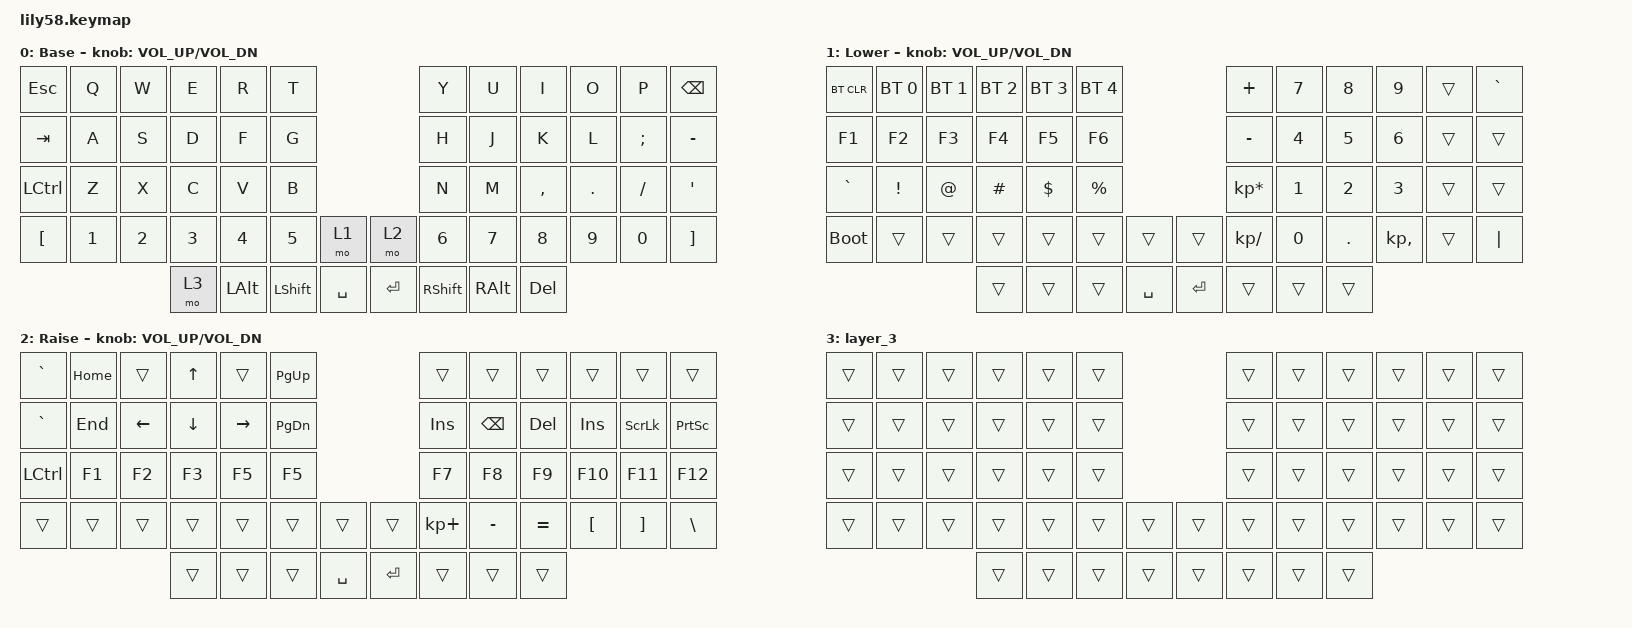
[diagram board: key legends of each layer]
/*
 * Copyright (c) 2020 The ZMK Contributors
 *
 * SPDX-License-Identifier: MIT
 */

#include <behaviors.dtsi>
#include <dt-bindings/zmk/bt.h>
#include <dt-bindings/zmk/keys.h>

/ {
    keymap {
        compatible = "zmk,keymap";

        default_layer {
            // ------------------------------------------------------------------------------------------------------------
            // |  ESC  |  1  |  2  |  3   |  4   |  5   |                   |  6   |  7    |  8    |  9   |   0   |   `   |
            // |  TAB  |  Q  |  W  |  E   |  R   |  T   |                   |  Y   |  U    |  I    |  O   |   P   |   -   |
            // |  CTRL |  A  |  S  |  D   |  F   |  G   |                   |  H   |  J    |  K    |  L   |   ;   |   '   |
            // | SHIFT |  Z  |  X  |  C   |  V   |  B   |   "["  |  |  "]"  |  N   |  M    |  ,    |  .   |   /   | SHIFT |
            //                     | ALT  | GUI  | LOWER|  SPACE |  | ENTER | RAISE| BSPC  | GUI   |

            display-name = "Base";
            bindings = <
&kp ESC           &kp Q         &kp W   &kp E   &kp R         &kp T                                   &kp Y            &kp U          &kp I       &kp O       &kp P          &kp BACKSPACE
&kp TAB           &kp A         &kp S   &kp D   &kp F         &kp G                                   &kp H            &kp J          &kp K       &kp L       &kp SEMICOLON  &kp MINUS
&kp LCTRL         &kp Z         &kp X   &kp C   &kp V         &kp B                                   &kp N            &kp M          &kp COMMA   &kp PERIOD  &kp SLASH      &kp SQT
&kp LEFT_BRACKET  &kp NUMBER_1  &kp N2  &kp N3  &kp N4        &kp N5          &mo 1        &mo 2      &kp N6           &kp N7         &kp N8      &kp N9      &kp N0         &kp RIGHT_BRACKET
                                        &mo 3   &kp LEFT_ALT  &kp LEFT_SHIFT  &kp SPACE    &kp ENTER  &kp RIGHT_SHIFT  &kp RIGHT_ALT  &kp DELETE
            >;

            sensor-bindings = <&inc_dec_kp C_VOL_UP C_VOL_DN>;
        };

        lower_layer {
            // ------------------------------------------------------------------------------------------------------------
            // | BTCLR | BT1 | BT2 |  BT3 |  BT4 |  BT5 |                   |      |       |       |      |       |       |
            // |  F1   |  F2 |  F3 |  F4  |  F5  |  F6  |                   |  F7  |  F8   |  F9   |  F10 |  F11  |  F12  |
            // |   `   |  !  |  @  |  #   |  $   |  %   |                   |  ^   |  &    |  *    |  (   |   )   |   ~   |
            // |       |     |     |      |      |      |        |  |       |      |  _    |  +    |  {   |   }   |  "|"  |
            //                     |      |      |      |        |  |       |      |       |       |

            display-name = "Lower";
            bindings = <
&bt BT_CLR   &bt BT_SEL 0  &bt BT_SEL 1  &bt BT_SEL 2  &bt BT_SEL 3  &bt BT_SEL 4                          &kp PLUS         &kp NUMBER_7  &kp N8        &kp NUMBER_9  &trans  &kp GRAVE
&kp F1       &kp F2        &kp F3        &kp F4        &kp F5        &kp F6                                &kp MINUS        &kp NUMBER_4  &kp NUMBER_5  &kp NUMBER_6  &trans  &trans
&kp GRAVE    &kp EXCL      &kp AT        &kp HASH      &kp DOLLAR    &kp PRCNT                             &kp KP_MULTIPLY  &kp NUMBER_1  &kp NUMBER_2  &kp NUMBER_3  &trans  &trans
&bootloader  &trans        &trans        &trans        &trans        &trans        &trans       &trans     &kp KP_DIVIDE    &kp NUMBER_0  &kp PERIOD    &kp KP_COMMA  &trans  &kp PIPE
                                         &trans        &trans        &trans        &kp SPACE    &kp ENTER  &trans           &trans        &trans
            >;

            sensor-bindings = <&inc_dec_kp C_VOL_UP C_VOL_DN>;
        };

        raise_layer {
            // ------------------------------------------------------------------------------------------------------------
            // |       |     |     |      |      |      |                   |      |       |       |      |       |       |
            // |   `   |  1  |  2  |  3   |  4   |  5   |                   |  6   |   7   |   8   |  9   |   0   |       |
            // |   F1  |  F2 |  F3 |  F4  |  F5  |  F6  |                   |      |   <-  |   v   |  ^   |  ->   |       |
            // |   F7  |  F8 |  F9 |  F10 |  F11 |  F12 |        |  |       |  +   |   -   |   =   |  [   |   ]   |   \   |
            //                     |      |      |      |        |  |       |      |       |       |

            display-name = "Raise";
            bindings = <
&kp GRAVE         &kp HOME  &trans          &kp UP_ARROW    &trans           &kp PAGE_UP                            &trans       &trans         &trans      &trans    &trans          &trans
&kp GRAVE         &kp END   &kp LEFT_ARROW  &kp DOWN_ARROW  &kp RIGHT_ARROW  &kp PAGE_DOWN                          &kp INS      &kp BACKSPACE  &kp DELETE  &kp INS   &kp SCROLLLOCK  &kp PRINTSCREEN
&kp LEFT_CONTROL  &kp F1    &kp F2          &kp F3          &kp F5           &kp F5                                 &kp F7       &kp F8         &kp F9      &kp F10   &kp F11         &kp F12
&trans            &trans    &trans          &trans          &trans           &trans         &trans       &trans     &kp KP_PLUS  &kp MINUS      &kp EQUAL   &kp LBKT  &kp RBKT        &kp BSLH
                                            &trans          &trans           &trans         &kp SPACE    &kp ENTER  &trans       &trans         &trans
            >;

            sensor-bindings = <&inc_dec_kp C_VOL_UP C_VOL_DN>;
        };

        layer_3 {
            bindings = <
&trans  &trans  &trans  &trans  &trans  &trans                    &trans  &trans  &trans  &trans  &trans  &trans
&trans  &trans  &trans  &trans  &trans  &trans                    &trans  &trans  &trans  &trans  &trans  &trans
&trans  &trans  &trans  &trans  &trans  &trans                    &trans  &trans  &trans  &trans  &trans  &trans
&trans  &trans  &trans  &trans  &trans  &trans  &trans    &trans  &trans  &trans  &trans  &trans  &trans  &trans
                        &trans  &trans  &trans  &trans    &trans  &trans  &trans  &trans
            >;
        };
    };
};
